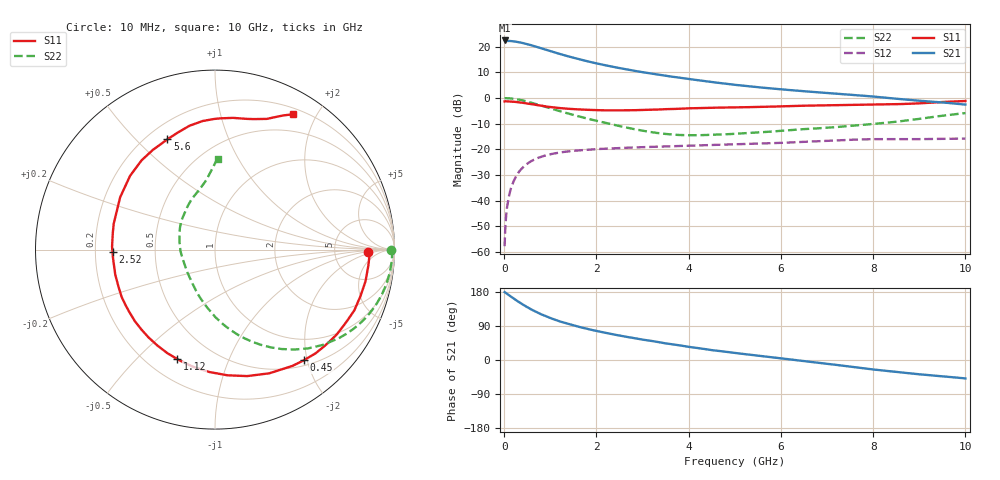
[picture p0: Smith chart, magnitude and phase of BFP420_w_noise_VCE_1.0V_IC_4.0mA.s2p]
! Infineon Technologies  Discrete & RF Semiconductors
! BFP420
! VCE =  1.0 V,  IC =  4.0 mA
! Common Emitter S-Parameters:  Jan 2016
# GHz  S  MA  R  50
!  f  S11  S21  S12  S22
! GHz  MAG  ANG  MAG  ANG  MAG  ANG  MAG  ANG
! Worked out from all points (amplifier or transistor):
!   233 points, 10 MHz to 10 GHz, reference 50 ohm
!   highest |S21| = 22.4 dB at 10 MHz (marker M1)
!   |S21| within 3 dB of that: start of sweep to 795.5 MHz
!   unconditionally stable (mu >= 1): 3.179 GHz to end of sweep
!   at 200 MHz: K = 0.05, MSG = 27.3 dB, |S12| = -32.7 dB
!   at 1.74 GHz: K = 0.56, MSG = 17.4 dB, |S12| = -20.3 dB
!   at 10 GHz: K = 1.13, MAG = 4.4 dB, |S12| = -15.8 dB
!   lowest NFmin = 0.61 dB at 900 MHz
!   S11 on the Smith chart (normalised r, x): 10 MHz: 13, -1; 450 MHz: 0.59, -1.95; 1.12 GHz: 0.32, -0.66; 2.52 GHz: 0.27, -0.01; 5.6 GHz: 0.28, +0.62; 10 GHz: 0.27, +1.70
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0.01  0.8543 -0.9  13.12 179.3  0.0013 98.0  0.9831 0.0
0.02  0.861 -2.4  12.79 178.6  0.0023 83.0  0.9878 -1.5
0.08  0.8567 -9.5  12.85 173.1  0.0094 84.8  0.9834 -6.1
0.15  0.8509 -17.7  12.78 167.1  0.0177 80.7  0.9741 -11.4
0.26  0.8329 -30.3  12.37 157.7  0.03 73.7  0.9457 -19.4
0.36  0.8128 -41.5  11.93 149.9  0.0401 67.7  0.9097 -26.4
0.45  0.7911 -51.1  11.43 143.1  0.0483 62.8  0.8724 -32.3
0.6  0.7527 -66.3  10.51 132.6  0.0598 55.5  0.8034 -41.3
0.7  0.7272 -75.7  9.887 126.4  0.0661 51.1  0.7564 -46.7
0.9  0.6828 -92.6  8.694 115.5  0.076 44.0  0.6677 -56.1
1.12  0.645 -109.0  7.561 105.6  0.0839 37.8  0.5824 -64.9
1.4  0.6137 -127.1  6.399 94.7  0.0911 31.7  0.4929 -74.8
1.68  0.5925 -142.4  5.503 85.7  0.0962 27.1  0.422 -83.3
2.02  0.577 -158.2  4.659 76.3  0.1009 22.7  0.355 -92.6
2.52  0.5711 -178.5  3.775 64.1  0.1061 17.6  0.2799 -107.4
3.4  0.5964 153.9  2.783 46.1  0.1129 11.3  0.2032 -137.0
4  0.6268 139.0  2.335 34.7  0.1177 7.9  0.1878 -160.1
5.1  0.6561 120.4  1.759 17.2  0.1256 2.5  0.2018 168.0
5.6  0.6691 113.3  1.583 10.1  0.1295 0.4  0.2151 156.8
6.8  0.7127 97.9  1.287 -7.1  0.1434 -5.7  0.2554 134.3
8.4  0.7496 76.3  0.982 -30.3  0.1575 -18.6  0.3361 106.7
10  0.87 60.1  0.74 -48.6  0.1615 -27.3  0.5062 88.4
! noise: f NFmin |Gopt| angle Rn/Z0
0.9  0.61  0.27  32  0.16
1.8  1.03  0.14  83  0.13
2.4  1.11  0.17  110  0.14
3  1.23  0.2  153  0.11
4  1.42  0.31  -151  0.11
5  1.77  0.38  -123  0.23
6  2.35  0.47  -104  0.33
